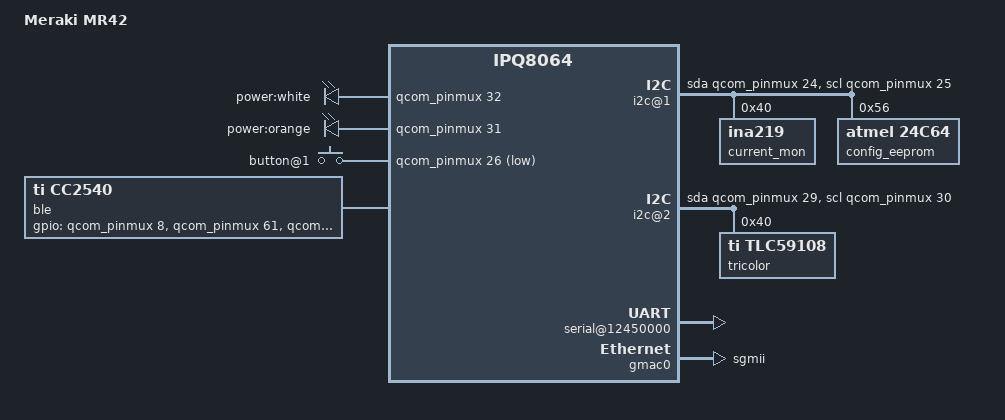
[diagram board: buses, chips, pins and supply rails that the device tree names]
/* Copyright (c) 2015, The Linux Foundation. All rights reserved.
 *
 * Permission to use, copy, modify, and/or distribute this software for any
 * purpose with or without fee is hereby granted, provided that the above
 * copyright notice and this permission notice appear in all copies.
 *
 * THE SOFTWARE IS PROVIDED "AS IS" AND THE AUTHOR DISCLAIMS ALL WARRANTIES
 * WITH REGARD TO THIS SOFTWARE INCLUDING ALL IMPLIED WARRANTIES OF
 * MERCHANTABILITY AND FITNESS. IN NO EVENT SHALL THE AUTHOR BE LIABLE FOR
 * ANY SPECIAL, DIRECT, INDIRECT, OR CONSEQUENTIAL DAMAGES OR ANY DAMAGES
 * WHATSOEVER RESULTING FROM LOSS OF USE, DATA OR PROFITS, WHETHER IN AN
 * ACTION OF CONTRACT, NEGLIGENCE OR OTHER TORTIOUS ACTION, ARISING OUT OF
 * OR IN CONNECTION WITH THE USE OR PERFORMANCE OF THIS SOFTWARE.
 *
 */

#include "qcom-ipq8064-v1.0.dtsi"
#include "qcom-ipq8064-ap160.dtsi"

/ {
	compatible = "qcom,ipq8064-ap160", "meraki,mr42";
	model = "Meraki MR42";

	soc {

		pinmux@800000 {
			pinctrl-0 = <&mdio_pins &i2c_pins>;
			mdio_pins: mdio_pins {
				mux {
					pins = "gpio0", "gpio1";
					function = "gpio";
					drive-strength = <2>;
					bias-pull-down;
					output-low;
				};
			};

			i2c_pins: i2c_pins {
				mux {
					pins = "gpio24", "gpio25", "gpio29", "gpio30";
					function = "gpio";
					drive-strength = <2>;
					bias-pull-up;
					input;
				};
			};

			led_0_pins: led_0_pins {
				mux {
					pins = "gpio31", "gpio32";
					function = "gpio";
					drive-strength = <12>;
					bias-pull-down;
					output-low;
				};
			};
		};

		leds {
			compatible = "gpio-leds";
			pinctrl-0 = <&led_0_pins>;
			pinctrl-names = "default";
			white {
				label = "power:white";
				gpios = <&qcom_pinmux 32 0>;
				default-state = "off";
			};

			orange {
				label = "power:orange";
				gpios = <&qcom_pinmux 31 0>;
				default-state = "on";
			};
		};

		gpio_keys {
			button@1 {
				gpios = <&qcom_pinmux 26 1>;
			};
		};

		i2c@1 {
			compatible = "i2c-gpio";
			gpios = <&qcom_pinmux 24 0>, <&qcom_pinmux 25 0>;
			i2c-gpio,sda-open-drain;
			i2c-gpio,scl-open-drain;
			i2c-gpio,delay-us = <10>;
			#address-cells = <1>;
			#size-cells = <0>;

			current_mon: ina2xx@40 {
				compatible = "ina219";
				shunt-resistor = <40000>;
				reg = <0x40>;
			};

			config_eeprom: at24@52 {
				compatible = "atmel,24c64";
				pagesize = <32>;
				reg = <0x56>;
			};
		};

		i2c@2 {
			compatible = "i2c-gpio";
			gpios = <&qcom_pinmux 29 0>, <&qcom_pinmux 30 0>;
			i2c-gpio,sda-open-drain;
			i2c-gpio,scl-open-drain;
			i2c-gpio,delay-us = <10>;
			#address-cells = <1>;
			#size-cells = <0>;

			tricolor: tricolor@40 {
				#address-cells = <1>;
				#size-cells = <0>;
				compatible = "ti,tlc59108";
				reg = <0x40>;

				red@0 {
					label = "tricolor0:red";
					reg = <0x0>;
					max-poe-val = <0xEF>;
					max-dc-val  = <0xB0>;
				};

				green@1 {
					label = "tricolor0:green";
					reg = <0x1>;
					max-poe-val = <0xF5>;
					max-dc-val  = <0xD4>;
				};

				blue@2 {
					label = "tricolor0:blue";
					reg = <0x2>;
					max-poe-val = <0xFF>;
					max-dc-val  = <0xF4>;
				};
			};
		};

		gsbi@12440000 {
			qcom,mode = <GSBI_PROT_UART_W_FC>;
			status = "ok";
			serial@12450000 {
				status = "ok";
				serial_clk = <1843200>;
			};
		};

		ble {
			compatible = "ti,cc2540";
			gpios = <&qcom_pinmux 8 0>, //reset
				<&qcom_pinmux 61 0>, //clk
				<&qcom_pinmux 62 0>; //data
		};

		board-data {
			compatible = "meraki,meraki-config";
			i2c-eeprom = <&config_eeprom>;
			gpios = <>;
		};

		gmac0: ethernet@37600000 {
			device_type = "network";
			compatible = "qcom,nss-gmac";
			reg = <0x37600000 0x200000>;
			interrupts = <GIC_SPI 229 IRQ_TYPE_LEVEL_HIGH>;
			interrupt-names = "macirq";

			qcom,nss-common = <&nss_common>;
			qcom,qsgmii-csr = <&qsgmii_csr>;

			clocks = <&gcc GMAC_CORE4_CLK>;
			clock-names = "stmmaceth";

			resets = <&gcc GMAC_CORE4_RESET>;
			reset-names = "stmmaceth";

			phy-mode = "sgmii";
			qcom,id = <3>;
			qcom,pcs-chanid = <3>;
			qcom,phy-mdio-addr = <2>;
			qcom,poll-required = <1>;
			qcom,rgmii-delay = <0>;
			qcom,emulation = <0>;
			qcom,forced-speed = <0>;
			qcom,forced-duplex = <0xFF>;
			qcom,socver = <0>;
			local-mac-address = [00180A000102];
			mdiobus = <&mdio0>;
		};

		pci@1b500000 {
			force_gen1 = <1>;
		};
	};
};


